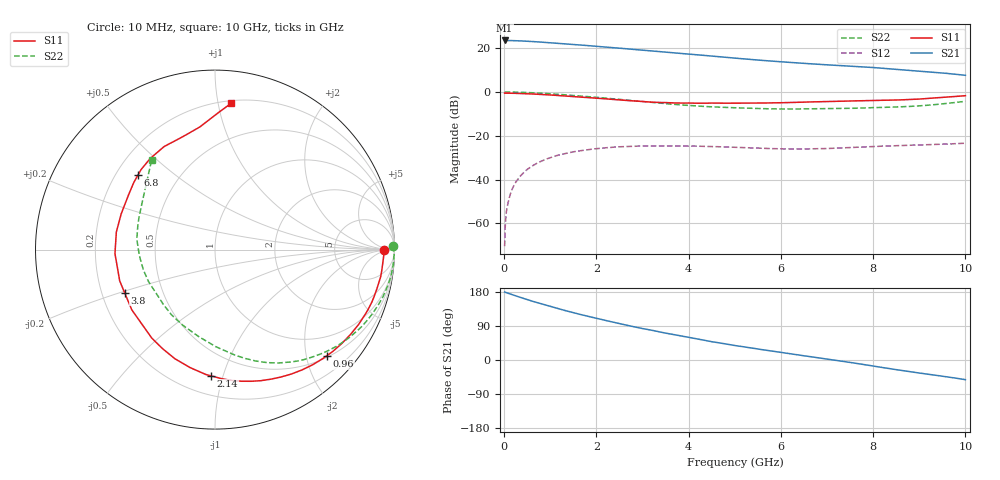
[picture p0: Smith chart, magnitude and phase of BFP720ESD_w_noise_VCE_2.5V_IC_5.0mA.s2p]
! Infineon Technologies  Discrete & RF Semiconductors
! BFP720ESD
! VCE =  2.5 V,  IC =  5.0 mA
! Common Emitter S-Parameters:  Jan 2016
# GHz  S  MA  R  50
!  f  S11  S21  S12  S22
! GHz  MAG  ANG  MAG  ANG  MAG  ANG  MAG  ANG
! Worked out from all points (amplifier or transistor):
!   233 points, 10 MHz to 10 GHz, reference 50 ohm
!   highest |S21| = 23.5 dB at 10 MHz (marker M1)
!   |S21| within 3 dB of that: start of sweep to 2.196 GHz
!   unconditionally stable (mu >= 1): start of sweep to 10.56 MHz; 5.794 GHz to 9.362 GHz
!   at 200 MHz: K = 0.04, MSG = 33.3 dB, |S12| = -43.2 dB
!   at 1.74 GHz: K = 0.26, MSG = 23.9 dB, |S12| = -26.6 dB
!   at 10 GHz: K = 0.72, MSG = 15.5 dB, |S12| = -23.4 dB
!   lowest NFmin = 0.54 dB at 450 MHz
!   S11 on the Smith chart (normalised r, x): 10 MHz: 33, -2; 960 MHz: 0.53, -2.41; 2.14 GHz: 0.33, -0.92; 3.8 GHz: 0.30, -0.21; 6.8 GHz: 0.29, +0.38; 10 GHz: 0.22, +1.09
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0.01  0.9413 -0.2  15.03 179.3  0.0003 -16.3  0.9934 1.2
0.025  0.9411 -1.1  14.93 178.7  0.0009 79.3  0.9969 -0.5
0.05  0.9406 -2.1  14.89 177.4  0.0019 80.1  0.9983 -1.4
0.19  0.9355 -8.8  14.91 171.9  0.0066 84.0  0.995 -6.0
0.36  0.9239 -16.7  14.67 165.0  0.0123 78.5  0.9842 -11.4
0.6  0.9021 -27.6  14.21 155.5  0.0201 71.2  0.9609 -18.6
0.96  0.8589 -43.5  13.45 142.8  0.0306 60.9  0.9151 -29.2
1.32  0.811 -59.0  12.63 130.6  0.0393 51.2  0.8611 -39.1
1.68  0.7632 -73.8  11.79 119.3  0.046 42.6  0.8048 -48.3
2.14  0.704 -91.7  10.74 106.1  0.0524 32.9  0.7341 -59.1
2.4  0.6719 -101.9  10.22 98.8  0.0552 27.8  0.6932 -65.3
2.78  0.6263 -117.1  9.442 88.5  0.0575 20.9  0.6325 -74.0
3.4  0.574 -140.2  8.267 73.5  0.0586 11.8  0.551 -87.3
3.8  0.5577 -154.6  7.625 64.3  0.0585 7.2  0.5095 -96.0
4.5  0.5578 -177.7  6.628 48.3  0.0569 0.1  0.458 -113.1
5.1  0.5569 167.8  5.811 36.5  0.0539 -3.3  0.4324 -125.6
6  0.5677 149.2  4.899 20.0  0.0501 -4.1  0.4086 -143.7
6.8  0.5977 135.8  4.294 6.0  0.0506 -1.8  0.4118 -160.2
7.6  0.6252 123.5  3.84 -8.2  0.0544 -0.7  0.4243 -177.7
8.4  0.6495 108.0  3.345 -23.6  0.0587 -2.8  0.4506 162.6
9  0.6889 97.0  2.991 -34.4  0.0615 -4.5  0.4815 147.7
10  0.8209 83.6  2.404 -51.9  0.0675 -8.3  0.6111 125.3
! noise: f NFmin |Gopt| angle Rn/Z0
0.45  0.54  0.48  5  0.15
0.9  0.58  0.47  13  0.15
1.9  0.62  0.41  32  0.14
2.4  0.67  0.38  38  0.14
5.5  0.9  0.17  118  0.09
10  1.55  0.55  -99  0.38
